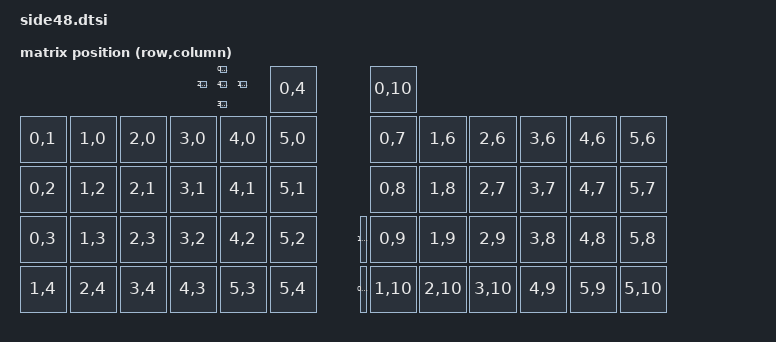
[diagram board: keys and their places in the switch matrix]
#include <dt-bindings/zmk/matrix_transform.h>
#include <input/processors.dtsi>
#include <dt-bindings/zmk/input_transform.h>
#include <physical_layouts.dtsi>
#include <behaviors/rgbled_widget.dtsi>
#include <zephyr/dt-bindings/input/input-event-codes.h>

/ {
    chosen {
        zmk,physical-layout = &side48_physical_layout;
    };

    default_transform: keymap_transform_0 {
        compatible = "zmk,matrix-transform";
        columns = <12>;
        rows = <5>;
        map = <
            //ue, migi, hidari, sita, naka, encoder             sita-click, ue-click, encoder
            RC(0,5) RC(1,5) RC(2,5) RC(3,5) RC(4,5) RC(0,4)     RC(0,11) RC(1,11) RC(0,10)
            //key switch
            RC(0,1) RC(1,0) RC(2,0) RC(3,0) RC(4,0) RC(5,0)     RC(0,7)  RC(1,6)  RC(2,6)  RC(3,6) RC(4,6) RC(5,6)
            RC(0,2) RC(1,2) RC(2,1) RC(3,1) RC(4,1) RC(5,1)     RC(0,8)  RC(1,8)  RC(2,7)  RC(3,7) RC(4,7) RC(5,7)
            RC(0,3) RC(1,3) RC(2,3) RC(3,2) RC(4,2) RC(5,2)     RC(0,9)  RC(1,9)  RC(2,9)  RC(3,8) RC(4,8) RC(5,8)
            RC(1,4) RC(2,4) RC(3,4) RC(4,3) RC(5,3) RC(5,4)     RC(1,10) RC(2,10) RC(3,10) RC(4,9) RC(5,9) RC(5,10)
        >;
    };
    
    side48_physical_layout: side48_physical_layout {
        compatible = "zmk,physical-layout";
        display-name = "Default";
        transform = <&default_transform>;
        kscan = <&kscan0>;

        keys  //                     w   h    x    y     rot    rx    ry
            = <&key_physical_attrs  20  20  400    0       0     0     0>   //ue
            , <&key_physical_attrs  20  20  440   30       0     0     0>   //migi
            , <&key_physical_attrs  20  20  360   30       0     0     0>   //hidari
            , <&key_physical_attrs  20  20  400   70       0     0     0>   //sita
            , <&key_physical_attrs  20  20  400   30       0     0     0>   //naka
            , <&key_physical_attrs 100 100  500    0       0     0     0>   //encoder
            , <&key_physical_attrs  20 100  680  400       0     0     0>   //sita-click
            , <&key_physical_attrs  20 100  680  300       0     0     0>   //ue-click
            , <&key_physical_attrs 100 100  700    0       0     0     0>   //encoder

            , <&key_physical_attrs 100 100    0  100       0     0     0>
            , <&key_physical_attrs 100 100  100  100       0     0     0>
            , <&key_physical_attrs 100 100  200  100       0     0     0>
            , <&key_physical_attrs 100 100  300  100       0     0     0>
            , <&key_physical_attrs 100 100  400  100       0     0     0>
            , <&key_physical_attrs 100 100  500  100       0     0     0>
            , <&key_physical_attrs 100 100  700  100       0     0     0>
            , <&key_physical_attrs 100 100  800  100       0     0     0>
            , <&key_physical_attrs 100 100  900  100       0     0     0>
            , <&key_physical_attrs 100 100 1000  100       0     0     0>
            , <&key_physical_attrs 100 100 1100  100       0     0     0>
            , <&key_physical_attrs 100 100 1200  100       0     0     0>
            , <&key_physical_attrs 100 100    0  200       0     0     0>
            , <&key_physical_attrs 100 100  100  200       0     0     0>
            , <&key_physical_attrs 100 100  200  200       0     0     0>
            , <&key_physical_attrs 100 100  300  200       0     0     0>
            , <&key_physical_attrs 100 100  400  200       0     0     0>
            , <&key_physical_attrs 100 100  500  200       0     0     0>
            , <&key_physical_attrs 100 100  700  200       0     0     0>
            , <&key_physical_attrs 100 100  800  200       0     0     0>
            , <&key_physical_attrs 100 100  900  200       0     0     0>
            , <&key_physical_attrs 100 100 1000  200       0     0     0>
            , <&key_physical_attrs 100 100 1100  200       0     0     0>
            , <&key_physical_attrs 100 100 1200  200       0     0     0>
            , <&key_physical_attrs 100 100    0  300       0     0     0>
            , <&key_physical_attrs 100 100  100  300       0     0     0>
            , <&key_physical_attrs 100 100  200  300       0     0     0>
            , <&key_physical_attrs 100 100  300  300       0     0     0>
            , <&key_physical_attrs 100 100  400  300       0     0     0>
            , <&key_physical_attrs 100 100  500  300       0     0     0>
            , <&key_physical_attrs 100 100  700  300       0     0     0>
            , <&key_physical_attrs 100 100  800  300       0     0     0>
            , <&key_physical_attrs 100 100  900  300       0     0     0>
            , <&key_physical_attrs 100 100 1000  300       0     0     0>
            , <&key_physical_attrs 100 100 1100  300       0     0     0>
            , <&key_physical_attrs 100 100 1200  300       0     0     0>
            , <&key_physical_attrs 100 100    0  400       0     0     0>
            , <&key_physical_attrs 100 100  100  400       0     0     0>
            , <&key_physical_attrs 100 100  200  400       0     0     0>
            , <&key_physical_attrs 100 100  300  400       0     0     0>
            , <&key_physical_attrs 100 100  400  400       0     0     0>
            , <&key_physical_attrs 100 100  500  400       0     0     0>
            , <&key_physical_attrs 100 100  700  400       0     0     0>
            , <&key_physical_attrs 100 100  800  400       0     0     0>
            , <&key_physical_attrs 100 100  900  400       0     0     0>
            , <&key_physical_attrs 100 100 1000  400       0     0     0>
            , <&key_physical_attrs 100 100 1100  400       0     0     0>
            , <&key_physical_attrs 100 100 1200  400       0     0     0>
            ;
    };

    kscan0: kscan {
        compatible = "zmk,kscan-gpio-charlieplex";
        label = "KSCAN";
        interrupt-gpios = <&xiao_d 6 (GPIO_ACTIVE_HIGH)>;
        gpios
            = <&xiao_d  0 (GPIO_ACTIVE_HIGH)>
            , <&xiao_d  1 (GPIO_ACTIVE_HIGH)>
            , <&xiao_d  2 (GPIO_ACTIVE_HIGH)>
            , <&xiao_d  3 (GPIO_ACTIVE_HIGH)>
            , <&xiao_d  9 (GPIO_ACTIVE_HIGH)>
            , <&xiao_d 10 (GPIO_ACTIVE_HIGH)>
            ;
    };

    trackball_listener: trackball_listener {
        compatible = "zmk,input-listener";
        status = "disabled";
        input-processors = 
            //<&zip_xy_transform INPUT_TRANSFORM_XY_SWAP>,  //カーソル移動のXとYを入れ替える
            <&zip_xy_scaler 1 2>;                           //カーソル移動量を1/2倍に変更
    };

    // Encoders
    left_encoder: left_encoder {
       compatible = "alps,ec11";
       status = "disabled";
    };

    right_encoder: right_encoder {
       compatible = "alps,ec11";
       status = "disabled";
    };

    sensors: sensors {
       compatible = "zmk,keymap-sensors";
       sensors = <&left_encoder &right_encoder>;
    };

    split_inputs {
        #address-cells = <1>;
        #size-cells = <0>;

    };
};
